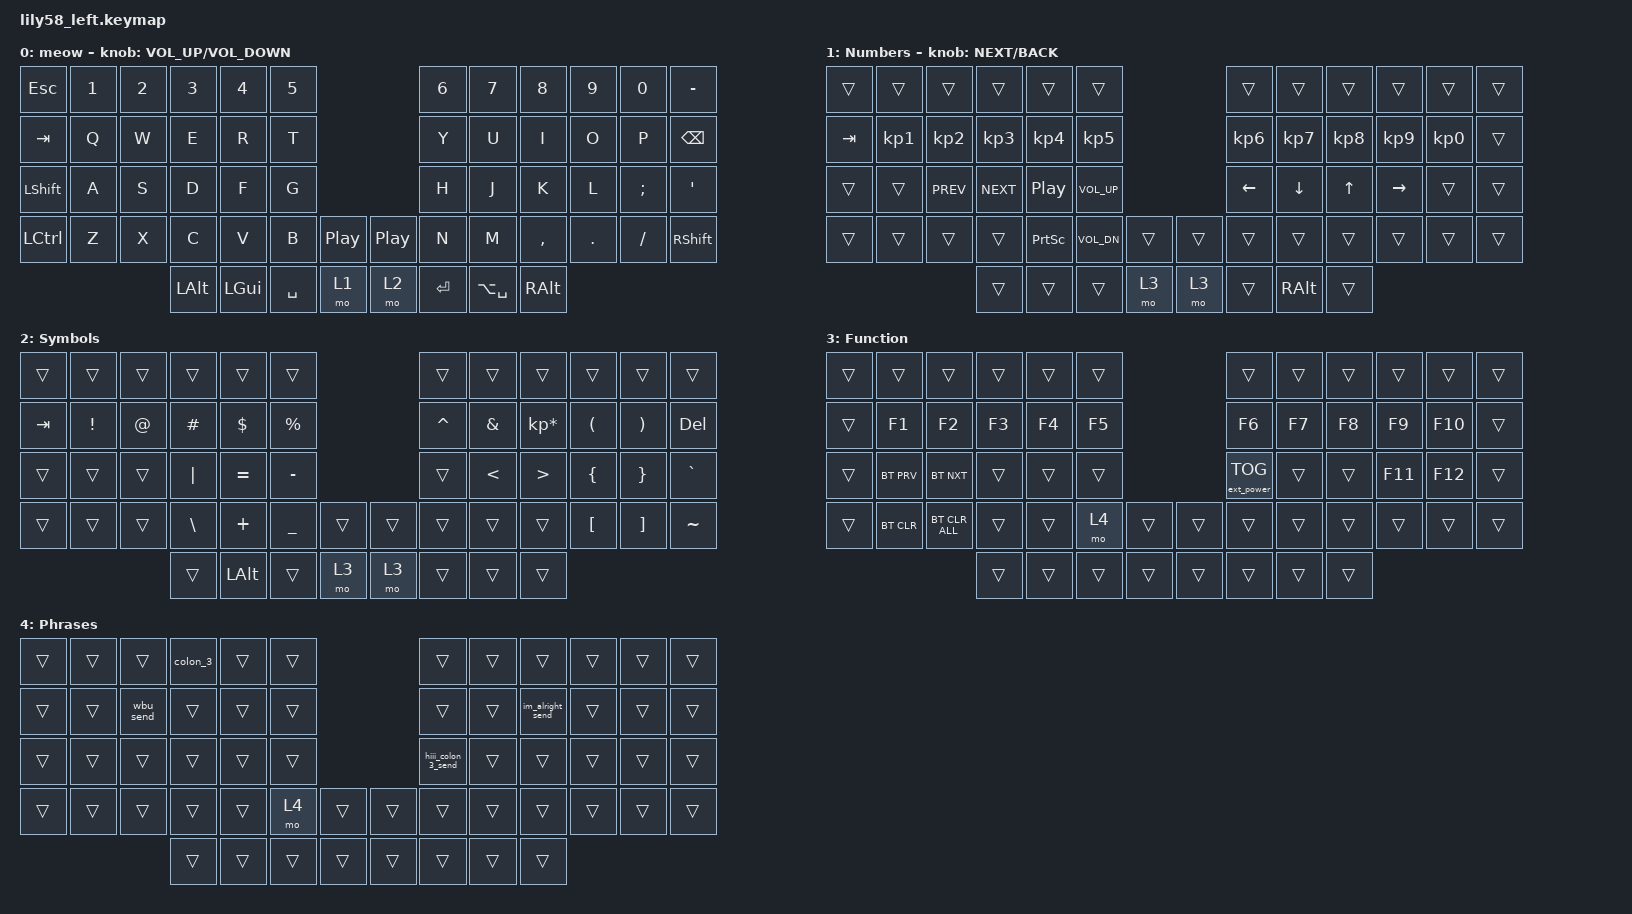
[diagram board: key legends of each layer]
#include <behaviors.dtsi>
#include <dt-bindings/zmk/bt.h>
#include <dt-bindings/zmk/ext_power.h>
#include <dt-bindings/zmk/keys.h>
#include <dt-bindings/zmk/keys.h>

/ {
    combos {
        compatible = "zmk,combos";

        AE {
            bindings = <&AE>;
            key-positions = <25 57>;
            layers = <0>;
        };

        AE_Capital {
            bindings = <&AE_Capital>;
            key-positions = <25 24 57>;
            layers = <0>;
        };

        U_200B {
            bindings = <&U_200B>;
            key-positions = <10 57>;
            layers = <0>;
        };

        UE {
            bindings = <&UE>;
            key-positions = <57 19>;
            layers = <0>;
        };

        UE_Capital {
            bindings = <&UE_Capital>;
            key-positions = <57 19 24>;
            layers = <0>;
        };

        OE {
            bindings = <&OE>;
            key-positions = <57 21>;
            layers = <0>;
        };

        OE_Capital {
            bindings = <&OE_Capital>;
            key-positions = <57 24 21>;
            layers = <0>;
        };

        Caps-Lock {
            bindings = <&kt LEFT_SHIFT>;
            key-positions = <24 49>;
            layers = <0>;
        };

        hehe_colon_3_send {
            bindings = <&hehe_colon_3_send>;
            key-positions = <30 15>;
            layers = <4>;
        };

        hruuuu_send {
            bindings = <&hruuuu_send>;
            key-positions = <30 16>;
            layers = <4>;
        };

        sharp_s {
            bindings = <&sharp_s>;
            key-positions = <57 26>;
        };
    };

    macros {
        AE: AE {
            compatible = "zmk,behavior-macro";
            #binding-cells = <0>;
            bindings =
                <&macro_press>,
                <&kp LEFT_ALT>,
                <&macro_tap>,
                <&kp KP_N0 &kp KP_NUMBER_2 &kp KP_NUMBER_2 &kp KP_NUMBER_8>,
                <&macro_release>,
                <&kp LEFT_ALT>;

            label = "AE";
        };

        AE_Capital: AE_Shift {
            compatible = "zmk,behavior-macro";
            #binding-cells = <0>;
            bindings =
                <&macro_press>,
                <&kp LEFT_ALT>,
                <&macro_tap>,
                <&kp KP_N0 &kp KP_NUMBER_1 &kp KP_NUMBER_9 &kp KP_NUMBER_6>,
                <&macro_release>,
                <&kp LEFT_ALT>;

            label = "AE_SHIFT";
        };

        U_200B: U_200B {
            compatible = "zmk,behavior-macro";
            #binding-cells = <0>;
            bindings =
                <&macro_press>,
                <&kp LEFT_ALT>,
                <&macro_tap>,
                <&kp KP_NUMBER_8 &kp KP_NUMBER_2 &kp KP_NUMBER_0 &kp KP_NUMBER_3>,
                <&macro_release>,
                <&kp LEFT_ALT>;

            label = "U_200B";
        };

        UE: UE {
            compatible = "zmk,behavior-macro";
            #binding-cells = <0>;
            bindings =
                <&macro_press>,
                <&kp LEFT_ALT>,
                <&macro_tap>,
                <&kp KP_N0 &kp KP_NUMBER_2 &kp KP_NUMBER_5 &kp KP_NUMBER_2>,
                <&macro_release>,
                <&kp LEFT_ALT>;

            label = "UE";
        };

        UE_Capital: UE_Capital {
            compatible = "zmk,behavior-macro";
            #binding-cells = <0>;
            bindings =
                <&macro_press>,
                <&kp LEFT_ALT>,
                <&macro_tap>,
                <&kp KP_N0 &kp KP_NUMBER_2 &kp KP_NUMBER_2 &kp KP_NUMBER_0>,
                <&macro_release>,
                <&kp LEFT_ALT>;

            label = "UE_CAPITAL";
        };

        OE: OE {
            compatible = "zmk,behavior-macro";
            #binding-cells = <0>;
            bindings =
                <&macro_press>,
                <&kp LEFT_ALT>,
                <&macro_tap>,
                <&kp KP_N0 &kp KP_NUMBER_2 &kp KP_NUMBER_4 &kp KP_NUMBER_6>,
                <&macro_release>,
                <&kp LEFT_ALT>;

            label = "OE";
        };

        OE_Capital: OE_Capital {
            compatible = "zmk,behavior-macro";
            #binding-cells = <0>;
            bindings =
                <&macro_press>,
                <&kp LEFT_ALT>,
                <&macro_tap>,
                <&kp KP_N0 &kp KP_NUMBER_2 &kp KP_NUMBER_1 &kp KP_NUMBER_4>,
                <&macro_release>,
                <&kp LEFT_ALT>;

            label = "OE_CAPITAL";
        };

        colon_3: colon_3 {
            compatible = "zmk,behavior-macro";
            #binding-cells = <0>;
            bindings = <&kp COLON &kp N3>;
            label = "COLON_3";
        };

        hiii_colon_3_send: hiii_colon_3_send {
            compatible = "zmk,behavior-macro";
            #binding-cells = <0>;
            bindings = <&kp H &kp I &kp I &kp I &kp I &kp SPACE &kp COLON &kp NUMBER_3 &kp RET>;
            label = "HIII_COLON_3_SEND";
        };

        hehe_colon_3_send: hehe_colon_3_send {
            compatible = "zmk,behavior-macro";
            #binding-cells = <0>;
            bindings = <&kp LS(H) &kp E &kp H &kp E &kp SPACE &kp COLON &kp NUMBER_3 &kp RET>;
            label = "HEHE_COLON_3_SEND";
        };

        hruuuu_send: hruuuu {
            compatible = "zmk,behavior-macro";
            #binding-cells = <0>;
            bindings = <&kp H &kp R &kp U &kp U &kp U &kp U &kp QMARK &kp ENTER>;
            label = "HRUUUU";
        };

        im_alright_send: im_alright {
            compatible = "zmk,behavior-macro";
            #binding-cells = <0>;
            bindings = <&kp I &kp SQT &kp M &kp SPACE &kp A &kp L &kp R &kp I &kp G &kp H &kp T &kp SPACE &kp COLON &kp NUMBER_3 &kp ENTER>;
            label = "IM_ALRIGHT";
        };

        wbu_send: wbu_send {
            compatible = "zmk,behavior-macro";
            #binding-cells = <0>;
            bindings = <&kp W &kp B &kp U &kp QMARK &kp RET>;
            label = "WBU_SEND";
        };

        sharp_s: sharp_s {
            compatible = "zmk,behavior-macro";
            #binding-cells = <0>;
            bindings =
                <&macro_press>,
                <&kp LEFT_ALT>,
                <&macro_tap>,
                <&kp KP_N0 &kp KP_NUMBER_2 &kp KP_NUMBER_2 &kp KP_NUMBER_3>,
                <&macro_release>,
                <&kp LEFT_ALT>;

            label = "SHARP_S";
        };
    };

    keymap {
        compatible = "zmk,keymap";

        Keyboard {
            bindings = <
&kp ESC    &kp N1  &kp N2  &kp N3        &kp N4    &kp N5                                   &kp N6     &kp N7         &kp N8         &kp N9   &kp N0    &kp MINUS
&kp TAB    &kp Q   &kp W   &kp E         &kp R     &kp T                                    &kp Y      &kp U          &kp I          &kp O    &kp P     &kp BSPC
&kp LSHFT  &kp A   &kp S   &kp D         &kp F     &kp G                                    &kp H      &kp J          &kp K          &kp L    &kp SEMI  &kp SQT
&kp LCTRL  &kp Z   &kp X   &kp C         &kp V     &kp B      &kp C_PP    &kp C_PLAY_PAUSE  &kp N      &kp M          &kp COMMA      &kp DOT  &kp FSLH  &kp RSHFT
                           &kp LEFT_ALT  &kp LGUI  &kp SPACE  &mo 1       &mo 2             &kp ENTER  &kp LA(SPACE)  &kp RIGHT_ALT
            >;

            sensor-bindings = <&inc_dec_kp C_VOLUME_UP C_VOLUME_DOWN>;
            label = "meow";
        };

        Numbers {
            bindings = <
&trans   &trans           &trans           &trans           &trans           &trans                             &trans           &trans           &trans           &trans           &trans           &trans
&kp TAB  &kp KP_NUMBER_1  &kp KP_NUMBER_2  &kp KP_NUMBER_3  &kp KP_NUMBER_4  &kp KP_NUMBER_5                    &kp KP_NUMBER_6  &kp KP_NUMBER_7  &kp KP_NUMBER_8  &kp KP_NUMBER_9  &kp KP_NUMBER_0  &trans
&trans   &trans           &kp C_PREV       &kp C_NEXT       &kp C_PP         &kp C_VOLUME_UP                    &kp LEFT         &kp DOWN         &kp UP           &kp RIGHT        &trans           &trans
&trans   &trans           &trans           &trans           &kp PSCRN        &kp C_VOL_DN     &trans    &trans  &trans           &trans           &trans           &trans           &trans           &trans
                                           &trans           &trans           &trans           &mo 3     &mo 3   &trans           &kp RALT         &trans
            >;

            label = "Numbers";
            sensor-bindings = <&inc_dec_kp K_NEXT K_BACK>;
        };

        Symbols {
            bindings = <
&trans   &trans    &trans       &trans         &trans     &trans                       &trans     &trans    &trans            &trans    &trans    &trans
&kp TAB  &kp EXCL  &kp AT_SIGN  &kp HASH       &kp DLLR   &kp PRCNT                    &kp CARET  &kp AMPS  &kp KP_MULTIPLY   &kp LPAR  &kp RPAR  &kp DEL
&trans   &trans    &trans       &kp PIPE       &kp EQUAL  &kp MINUS                    &trans     &kp LT    &kp GREATER_THAN  &kp LBRC  &kp RBRC  &kp GRAVE
&trans   &trans    &trans       &kp BACKSLASH  &kp PLUS   &kp UNDER  &trans    &trans  &trans     &trans    &trans            &kp LBKT  &kp RBKT  &kp TILDE
                                &trans         &kp LALT   &trans     &mo 3     &mo 3   &trans     &trans    &trans
            >;

            label = "Symbols";
        };

        Function {
            bindings = <
&trans  &trans      &trans          &trans  &trans  &trans                    &trans             &trans  &trans  &trans   &trans   &trans
&trans  &kp F1      &kp F2          &kp F3  &kp F4  &kp F5                    &kp F6             &kp F7  &kp F8  &kp F9   &kp F10  &trans
&trans  &bt BT_PRV  &bt BT_NXT      &trans  &trans  &trans                    &ext_power EP_TOG  &trans  &trans  &kp F11  &kp F12  &trans
&trans  &bt BT_CLR  &bt BT_CLR_ALL  &trans  &trans  &mo 4   &trans    &trans  &trans             &trans  &trans  &trans   &trans   &trans
                                    &trans  &trans  &trans  &trans    &trans  &trans             &trans  &trans
            >;

            label = "Function";
        };

        Phrases {
            bindings = <
&trans  &trans  &trans     &colon_3  &trans  &trans                    &trans              &trans  &trans            &trans  &trans  &trans
&trans  &trans  &wbu_send  &trans    &trans  &trans                    &trans              &trans  &im_alright_send  &trans  &trans  &trans
&trans  &trans  &trans     &trans    &trans  &trans                    &hiii_colon_3_send  &trans  &trans            &trans  &trans  &trans
&trans  &trans  &trans     &trans    &trans  &mo 4   &trans    &trans  &trans              &trans  &trans            &trans  &trans  &trans
                           &trans    &trans  &trans  &trans    &trans  &trans              &trans  &trans
            >;

            label = "Phrases";
        };
    };
};

&kscan0 {
    col-gpios = <&pro_micro 19 GPIO_ACTIVE_HIGH>,
                <&pro_micro 18 GPIO_ACTIVE_HIGH>,
                <&pro_micro 10 GPIO_ACTIVE_HIGH>,
                <&pro_micro 14 GPIO_ACTIVE_HIGH>,
                <&pro_micro 16 GPIO_ACTIVE_HIGH>,
                <&pro_micro 20 GPIO_ACTIVE_HIGH>;
};
